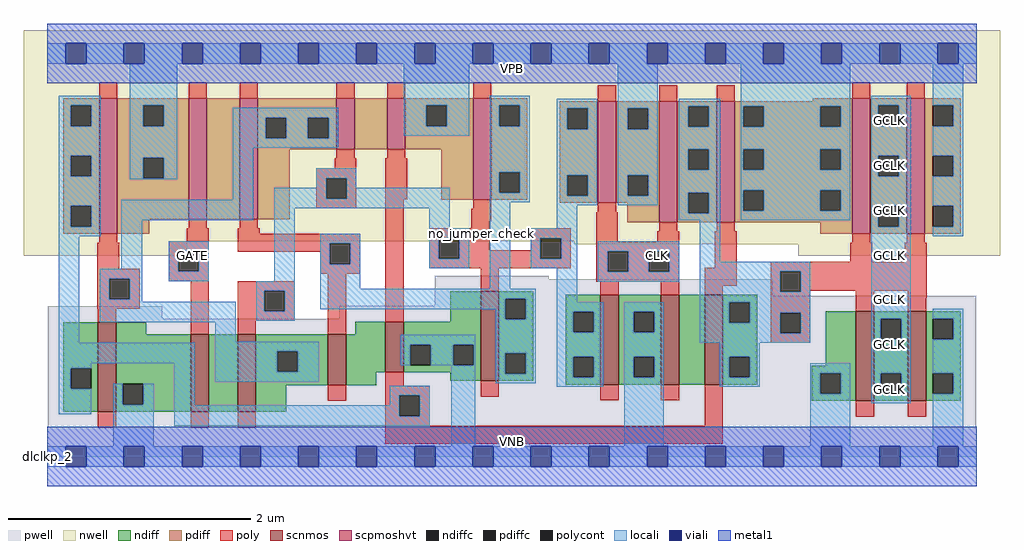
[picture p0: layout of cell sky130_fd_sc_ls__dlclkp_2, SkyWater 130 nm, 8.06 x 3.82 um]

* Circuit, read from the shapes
.subckt sky130_fd_sc_ls__dlclkp_2 CLK GATE VGND VNB VPB VPWR GCLK
XM1 VGND n1 n2 VNB sky130_fd_pr__nfet_01v8 w=0.74 l=0.15
XM2 n3 GATE VGND VNB sky130_fd_pr__nfet_01v8 w=0.64 l=0.15
XM3 n1 n4 n3 VNB sky130_fd_pr__nfet_01v8 w=0.64 l=0.15
XM4 n5 n6 n1 VNB sky130_fd_pr__nfet_01v8 w=0.42 l=0.15
XM5 VGND n2 n5 VNB sky130_fd_pr__nfet_01v8 w=0.42 l=0.15
XM6 n6 n4 VGND VNB sky130_fd_pr__nfet_01v8 w=0.74 l=0.15
XM7 VGND CLK n4 VNB sky130_fd_pr__nfet_01v8 w=0.74 l=0.15
XM8 n7 CLK VGND VNB sky130_fd_pr__nfet_01v8 w=0.74 l=0.15
XM9 n8 n2 n7 VNB sky130_fd_pr__nfet_01v8 w=0.74 l=0.15
XM10 GCLK n8 VGND VNB sky130_fd_pr__nfet_01v8 w=0.74 l=0.15 m=2
XM11 VPWR n1 n2 VPB sky130_fd_pr__pfet_01v8_hvt w=1.12 l=0.15
XM12 n9 GATE VPWR VPB sky130_fd_pr__pfet_01v8_hvt w=1 l=0.15
XM13 n1 n6 n9 VPB sky130_fd_pr__pfet_01v8_hvt w=1 l=0.15
XM14 n10 n4 n1 VPB sky130_fd_pr__pfet_01v8_hvt w=0.42 l=0.15
XM15 VPWR n2 n10 VPB sky130_fd_pr__pfet_01v8_hvt w=0.42 l=0.15
XM16 n6 n4 VPWR VPB sky130_fd_pr__pfet_01v8_hvt w=0.84 l=0.15
XM17 VPWR CLK n4 VPB sky130_fd_pr__pfet_01v8_hvt w=0.84 l=0.15
XM18 n8 CLK VPWR VPB sky130_fd_pr__pfet_01v8_hvt w=1 l=0.15
XM19 VPWR n2 n8 VPB sky130_fd_pr__pfet_01v8_hvt w=1 l=0.15
XM20 GCLK n8 VPWR VPB sky130_fd_pr__pfet_01v8_hvt w=1.12 l=0.15 m=2
.ends

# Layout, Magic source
magic
tech sky130A
magscale 1 2
<< nwell >>
rect -38 356 1574 704
rect -38 332 232 356
rect 871 351 1574 356
rect 1241 332 1574 351
<< pwell >>
rect 640 293 829 299
rect 640 266 1199 293
rect 640 249 1535 266
rect 1 228 190 248
rect 483 228 1535 249
rect 1 49 1535 228
rect 0 0 1536 49
<< scnmos >>
rect 84 74 114 222
rect 237 74 267 202
rect 315 74 345 202
rect 464 118 494 202
rect 559 139 589 223
rect 716 125 746 273
rect 914 119 944 267
rect 1014 119 1044 267
rect 1086 119 1116 267
rect 1336 92 1366 240
rect 1422 92 1452 240
<< scpmoshvt >>
rect 86 368 116 592
rect 234 392 264 592
rect 318 392 348 592
rect 478 508 508 592
rect 562 508 592 592
rect 704 424 734 592
rect 910 419 940 587
rect 1011 387 1041 587
rect 1106 387 1136 587
rect 1330 368 1360 592
rect 1420 368 1450 592
<< ndiff >>
rect 27 146 84 222
rect 27 112 39 146
rect 73 112 84 146
rect 27 74 84 112
rect 114 202 164 222
rect 666 223 716 273
rect 509 202 559 223
rect 114 120 237 202
rect 114 86 125 120
rect 159 86 237 120
rect 114 74 237 86
rect 267 74 315 202
rect 345 174 464 202
rect 345 140 380 174
rect 414 140 464 174
rect 345 118 464 140
rect 494 139 559 202
rect 589 185 716 223
rect 589 151 600 185
rect 634 151 671 185
rect 705 151 716 185
rect 589 139 716 151
rect 494 118 544 139
rect 345 74 395 118
rect 666 125 716 139
rect 746 261 803 273
rect 746 227 757 261
rect 791 227 803 261
rect 746 171 803 227
rect 746 137 757 171
rect 791 137 803 171
rect 746 125 803 137
rect 857 239 914 267
rect 857 205 869 239
rect 903 205 914 239
rect 857 165 914 205
rect 857 131 869 165
rect 903 131 914 165
rect 857 119 914 131
rect 944 239 1014 267
rect 944 205 969 239
rect 1003 205 1014 239
rect 944 165 1014 205
rect 944 131 969 165
rect 1003 131 1014 165
rect 944 119 1014 131
rect 1044 119 1086 267
rect 1116 255 1173 267
rect 1116 221 1127 255
rect 1161 221 1173 255
rect 1116 165 1173 221
rect 1116 131 1127 165
rect 1161 131 1173 165
rect 1286 150 1336 240
rect 1116 119 1173 131
rect 1263 138 1336 150
rect 1263 104 1277 138
rect 1311 104 1336 138
rect 1263 92 1336 104
rect 1366 228 1422 240
rect 1366 194 1377 228
rect 1411 194 1422 228
rect 1366 138 1422 194
rect 1366 104 1377 138
rect 1411 104 1422 138
rect 1366 92 1422 104
rect 1452 228 1509 240
rect 1452 194 1463 228
rect 1497 194 1509 228
rect 1452 138 1509 194
rect 1452 104 1463 138
rect 1497 104 1509 138
rect 1452 92 1509 104
<< pdiff >>
rect 27 580 86 592
rect 27 546 39 580
rect 73 546 86 580
rect 27 497 86 546
rect 27 463 39 497
rect 73 463 86 497
rect 27 414 86 463
rect 27 380 39 414
rect 73 380 86 414
rect 27 368 86 380
rect 116 580 234 592
rect 116 546 159 580
rect 193 546 234 580
rect 116 494 234 546
rect 116 460 159 494
rect 193 460 234 494
rect 116 392 234 460
rect 264 392 318 592
rect 348 560 478 592
rect 348 526 361 560
rect 395 526 431 560
rect 465 526 478 560
rect 348 508 478 526
rect 508 508 562 592
rect 592 580 704 592
rect 592 546 626 580
rect 660 546 704 580
rect 592 508 704 546
rect 348 392 401 508
rect 116 368 169 392
rect 651 424 704 508
rect 734 580 793 592
rect 1265 587 1330 592
rect 734 546 747 580
rect 781 546 793 580
rect 734 470 793 546
rect 734 436 747 470
rect 781 436 793 470
rect 734 424 793 436
rect 847 575 910 587
rect 847 541 859 575
rect 893 541 910 575
rect 847 465 910 541
rect 847 431 859 465
rect 893 431 910 465
rect 847 419 910 431
rect 940 575 1011 587
rect 940 541 959 575
rect 993 541 1011 575
rect 940 465 1011 541
rect 940 431 959 465
rect 993 431 1011 465
rect 940 419 1011 431
rect 958 387 1011 419
rect 1041 579 1106 587
rect 1041 545 1059 579
rect 1093 545 1106 579
rect 1041 508 1106 545
rect 1041 474 1059 508
rect 1093 474 1106 508
rect 1041 436 1106 474
rect 1041 402 1059 436
rect 1093 402 1106 436
rect 1041 387 1106 402
rect 1136 579 1330 587
rect 1136 545 1150 579
rect 1184 545 1277 579
rect 1311 545 1330 579
rect 1136 508 1330 545
rect 1136 474 1150 508
rect 1184 474 1277 508
rect 1311 474 1330 508
rect 1136 440 1330 474
rect 1136 406 1150 440
rect 1184 406 1277 440
rect 1311 406 1330 440
rect 1136 387 1330 406
rect 1277 368 1330 387
rect 1360 580 1420 592
rect 1360 546 1373 580
rect 1407 546 1420 580
rect 1360 497 1420 546
rect 1360 463 1373 497
rect 1407 463 1420 497
rect 1360 414 1420 463
rect 1360 380 1373 414
rect 1407 380 1420 414
rect 1360 368 1420 380
rect 1450 580 1509 592
rect 1450 546 1463 580
rect 1497 546 1509 580
rect 1450 497 1509 546
rect 1450 463 1463 497
rect 1497 463 1509 497
rect 1450 414 1509 463
rect 1450 380 1463 414
rect 1497 380 1509 414
rect 1450 368 1509 380
<< ndiffc >>
rect 39 112 73 146
rect 125 86 159 120
rect 380 140 414 174
rect 600 151 634 185
rect 671 151 705 185
rect 757 227 791 261
rect 757 137 791 171
rect 869 205 903 239
rect 869 131 903 165
rect 969 205 1003 239
rect 969 131 1003 165
rect 1127 221 1161 255
rect 1127 131 1161 165
rect 1277 104 1311 138
rect 1377 194 1411 228
rect 1377 104 1411 138
rect 1463 194 1497 228
rect 1463 104 1497 138
<< pdiffc >>
rect 39 546 73 580
rect 39 463 73 497
rect 39 380 73 414
rect 159 546 193 580
rect 159 460 193 494
rect 361 526 395 560
rect 431 526 465 560
rect 626 546 660 580
rect 747 546 781 580
rect 747 436 781 470
rect 859 541 893 575
rect 859 431 893 465
rect 959 541 993 575
rect 959 431 993 465
rect 1059 545 1093 579
rect 1059 474 1093 508
rect 1059 402 1093 436
rect 1150 545 1184 579
rect 1277 545 1311 579
rect 1150 474 1184 508
rect 1277 474 1311 508
rect 1150 406 1184 440
rect 1277 406 1311 440
rect 1373 546 1407 580
rect 1373 463 1407 497
rect 1373 380 1407 414
rect 1463 546 1497 580
rect 1463 463 1497 497
rect 1463 380 1497 414
<< poly >>
rect 86 592 116 618
rect 234 592 264 618
rect 318 592 348 618
rect 478 592 508 618
rect 562 592 592 618
rect 704 592 734 618
rect 478 493 508 508
rect 562 493 592 508
rect 475 476 511 493
rect 445 460 511 476
rect 445 426 461 460
rect 495 426 511 460
rect 445 410 511 426
rect 559 425 595 493
rect 234 377 264 392
rect 318 377 348 392
rect 86 353 116 368
rect 231 356 267 377
rect 83 310 119 353
rect 201 340 267 356
rect 83 294 153 310
rect 83 260 103 294
rect 137 260 153 294
rect 201 306 217 340
rect 251 306 267 340
rect 315 368 351 377
rect 315 352 517 368
rect 315 338 467 352
rect 201 290 267 306
rect 451 318 467 338
rect 501 318 517 352
rect 451 302 517 318
rect 83 244 153 260
rect 84 222 114 244
rect 237 202 267 290
rect 315 274 409 290
rect 315 240 359 274
rect 393 240 409 274
rect 315 224 409 240
rect 315 202 345 224
rect 464 202 494 302
rect 559 223 589 425
rect 910 587 940 613
rect 1011 587 1041 613
rect 1106 587 1136 613
rect 1330 592 1360 618
rect 1420 592 1450 618
rect 704 409 734 424
rect 701 389 734 409
rect 910 404 940 419
rect 701 377 731 389
rect 631 361 731 377
rect 631 327 647 361
rect 681 341 731 361
rect 799 361 865 377
rect 799 341 815 361
rect 681 327 815 341
rect 849 327 865 361
rect 631 311 865 327
rect 907 355 943 404
rect 1011 372 1041 387
rect 1106 372 1136 387
rect 1008 355 1044 372
rect 907 339 1044 355
rect 716 273 746 311
rect 907 305 926 339
rect 960 305 994 339
rect 1028 305 1044 339
rect 1103 312 1139 372
rect 1330 353 1360 368
rect 1420 353 1450 368
rect 1327 322 1363 353
rect 1417 322 1453 353
rect 907 289 1044 305
rect 464 92 494 118
rect 559 117 589 139
rect 914 267 944 289
rect 1014 267 1044 289
rect 1086 282 1139 312
rect 1195 306 1453 322
rect 1086 267 1116 282
rect 1195 272 1211 306
rect 1245 274 1453 306
rect 1245 272 1261 274
rect 559 101 632 117
rect 84 48 114 74
rect 237 48 267 74
rect 315 48 345 74
rect 559 67 582 101
rect 616 67 632 101
rect 716 99 746 125
rect 1195 238 1261 272
rect 1336 240 1366 274
rect 1422 262 1453 274
rect 1422 240 1452 262
rect 1195 204 1211 238
rect 1245 204 1261 238
rect 1195 188 1261 204
rect 914 93 944 119
rect 1014 93 1044 119
rect 559 51 632 67
rect 1086 51 1116 119
rect 1336 66 1366 92
rect 1422 66 1452 92
rect 559 21 1116 51
<< polycont >>
rect 461 426 495 460
rect 103 260 137 294
rect 217 306 251 340
rect 467 318 501 352
rect 359 240 393 274
rect 647 327 681 361
rect 815 327 849 361
rect 926 305 960 339
rect 994 305 1028 339
rect 1211 272 1245 306
rect 582 67 616 101
rect 1211 204 1245 238
<< locali >>
rect 0 649 31 683
rect 65 649 127 683
rect 161 649 223 683
rect 257 649 319 683
rect 353 649 415 683
rect 449 649 511 683
rect 545 649 607 683
rect 641 649 703 683
rect 737 649 799 683
rect 833 649 895 683
rect 929 649 991 683
rect 1025 649 1087 683
rect 1121 649 1183 683
rect 1217 649 1279 683
rect 1313 649 1375 683
rect 1409 649 1471 683
rect 1505 649 1536 683
rect 19 580 89 596
rect 19 546 39 580
rect 73 546 89 580
rect 19 497 89 546
rect 19 463 39 497
rect 73 463 89 497
rect 19 414 89 463
rect 137 580 215 649
rect 137 546 159 580
rect 193 546 215 580
rect 589 580 697 649
rect 137 494 215 546
rect 137 460 159 494
rect 193 460 215 494
rect 137 458 215 460
rect 307 560 481 576
rect 307 526 361 560
rect 395 526 431 560
rect 465 526 481 560
rect 589 546 626 580
rect 660 546 697 580
rect 589 530 697 546
rect 731 580 797 596
rect 731 546 747 580
rect 781 546 797 580
rect 307 510 481 526
rect 307 424 341 510
rect 445 460 511 476
rect 445 444 461 460
rect 19 380 39 414
rect 73 380 89 414
rect 19 364 89 380
rect 123 390 341 424
rect 375 426 461 444
rect 495 444 511 460
rect 731 470 797 546
rect 495 426 665 444
rect 375 410 665 426
rect 19 188 53 364
rect 123 310 157 390
rect 87 294 157 310
rect 87 260 103 294
rect 137 260 157 294
rect 201 340 267 356
rect 201 306 217 340
rect 251 306 267 340
rect 201 290 267 306
rect 375 290 409 410
rect 631 377 665 410
rect 731 436 747 470
rect 781 436 797 470
rect 731 420 797 436
rect 842 575 909 591
rect 842 541 859 575
rect 893 541 909 575
rect 842 465 909 541
rect 842 431 859 465
rect 893 431 909 465
rect 87 256 157 260
rect 346 274 409 290
rect 87 222 312 256
rect 346 240 359 274
rect 393 240 409 274
rect 451 352 517 368
rect 451 318 467 352
rect 501 318 517 352
rect 451 277 517 318
rect 631 361 697 377
rect 631 327 647 361
rect 681 327 697 361
rect 631 311 697 327
rect 731 277 765 420
rect 842 415 909 431
rect 943 575 1009 649
rect 943 541 959 575
rect 993 541 1009 575
rect 943 465 1009 541
rect 943 431 959 465
rect 993 431 1009 465
rect 943 415 1009 431
rect 1043 579 1112 591
rect 1043 545 1059 579
rect 1093 545 1112 579
rect 1043 508 1112 545
rect 1043 474 1059 508
rect 1093 474 1112 508
rect 1043 436 1112 474
rect 842 377 876 415
rect 1043 402 1059 436
rect 1093 402 1112 436
rect 1043 390 1112 402
rect 1146 579 1327 649
rect 1146 545 1150 579
rect 1184 545 1277 579
rect 1311 545 1327 579
rect 1146 508 1327 545
rect 1146 474 1150 508
rect 1184 474 1277 508
rect 1311 474 1327 508
rect 1146 440 1327 474
rect 1146 406 1150 440
rect 1184 406 1277 440
rect 1311 406 1327 440
rect 1146 390 1327 406
rect 1361 580 1427 596
rect 1361 546 1373 580
rect 1407 546 1427 580
rect 1361 497 1427 546
rect 1361 463 1373 497
rect 1407 463 1427 497
rect 1361 414 1427 463
rect 799 361 876 377
rect 799 327 815 361
rect 849 327 876 361
rect 799 311 876 327
rect 451 261 807 277
rect 451 243 757 261
rect 346 224 409 240
rect 741 227 757 243
rect 791 227 807 261
rect 278 190 312 222
rect 19 154 244 188
rect 19 146 73 154
rect 19 112 39 146
rect 19 70 73 112
rect 109 86 125 120
rect 159 86 176 120
rect 109 17 176 86
rect 210 85 244 154
rect 278 174 449 190
rect 278 140 380 174
rect 414 140 449 174
rect 584 185 707 201
rect 584 151 600 185
rect 634 151 671 185
rect 705 151 707 185
rect 278 124 449 140
rect 566 101 632 117
rect 566 85 582 101
rect 210 67 582 85
rect 616 67 632 101
rect 210 51 632 67
rect 668 17 707 151
rect 741 171 807 227
rect 741 137 757 171
rect 791 137 807 171
rect 741 121 807 137
rect 842 255 876 311
rect 910 339 1044 356
rect 910 305 926 339
rect 960 305 994 339
rect 1028 305 1044 339
rect 910 289 1044 305
rect 1078 322 1112 390
rect 1361 380 1373 414
rect 1407 380 1427 414
rect 1078 306 1261 322
rect 1078 272 1211 306
rect 1245 272 1261 306
rect 1078 255 1261 272
rect 842 239 919 255
rect 842 205 869 239
rect 903 205 919 239
rect 842 165 919 205
rect 842 131 869 165
rect 903 131 919 165
rect 842 115 919 131
rect 953 239 1019 255
rect 953 205 969 239
rect 1003 205 1019 239
rect 953 165 1019 205
rect 1078 221 1127 255
rect 1161 238 1261 255
rect 1161 221 1211 238
rect 1078 204 1211 221
rect 1245 204 1261 238
rect 1078 188 1261 204
rect 1361 228 1427 380
rect 1463 580 1513 649
rect 1497 546 1513 580
rect 1463 497 1513 546
rect 1497 463 1513 497
rect 1463 414 1513 463
rect 1497 380 1513 414
rect 1463 364 1513 380
rect 1361 194 1377 228
rect 1411 194 1427 228
rect 953 131 969 165
rect 1003 131 1019 165
rect 953 17 1019 131
rect 1111 165 1177 188
rect 1111 131 1127 165
rect 1161 131 1177 165
rect 1111 115 1177 131
rect 1261 138 1327 154
rect 1261 104 1277 138
rect 1311 104 1327 138
rect 1261 17 1327 104
rect 1361 138 1427 194
rect 1361 104 1377 138
rect 1411 104 1427 138
rect 1361 88 1427 104
rect 1463 228 1513 244
rect 1497 194 1513 228
rect 1463 138 1513 194
rect 1497 104 1513 138
rect 1463 17 1513 104
rect 0 -17 31 17
rect 65 -17 127 17
rect 161 -17 223 17
rect 257 -17 319 17
rect 353 -17 415 17
rect 449 -17 511 17
rect 545 -17 607 17
rect 641 -17 703 17
rect 737 -17 799 17
rect 833 -17 895 17
rect 929 -17 991 17
rect 1025 -17 1087 17
rect 1121 -17 1183 17
rect 1217 -17 1279 17
rect 1313 -17 1375 17
rect 1409 -17 1471 17
rect 1505 -17 1536 17
<< viali >>
rect 31 649 65 683
rect 127 649 161 683
rect 223 649 257 683
rect 319 649 353 683
rect 415 649 449 683
rect 511 649 545 683
rect 607 649 641 683
rect 703 649 737 683
rect 799 649 833 683
rect 895 649 929 683
rect 991 649 1025 683
rect 1087 649 1121 683
rect 1183 649 1217 683
rect 1279 649 1313 683
rect 1375 649 1409 683
rect 1471 649 1505 683
rect 31 -17 65 17
rect 127 -17 161 17
rect 223 -17 257 17
rect 319 -17 353 17
rect 415 -17 449 17
rect 511 -17 545 17
rect 607 -17 641 17
rect 703 -17 737 17
rect 799 -17 833 17
rect 895 -17 929 17
rect 991 -17 1025 17
rect 1087 -17 1121 17
rect 1183 -17 1217 17
rect 1279 -17 1313 17
rect 1375 -17 1409 17
rect 1471 -17 1505 17
<< metal1 >>
rect 0 683 1536 715
rect 0 649 31 683
rect 65 649 127 683
rect 161 649 223 683
rect 257 649 319 683
rect 353 649 415 683
rect 449 649 511 683
rect 545 649 607 683
rect 641 649 703 683
rect 737 649 799 683
rect 833 649 895 683
rect 929 649 991 683
rect 1025 649 1087 683
rect 1121 649 1183 683
rect 1217 649 1279 683
rect 1313 649 1375 683
rect 1409 649 1471 683
rect 1505 649 1536 683
rect 0 617 1536 649
rect 0 17 1536 49
rect 0 -17 31 17
rect 65 -17 127 17
rect 161 -17 223 17
rect 257 -17 319 17
rect 353 -17 415 17
rect 449 -17 511 17
rect 545 -17 607 17
rect 641 -17 703 17
rect 737 -17 799 17
rect 833 -17 895 17
rect 929 -17 991 17
rect 1025 -17 1087 17
rect 1121 -17 1183 17
rect 1217 -17 1279 17
rect 1313 -17 1375 17
rect 1409 -17 1471 17
rect 1505 -17 1536 17
rect 0 -49 1536 -17
<< labels >>
flabel comment s 717 368 717 368 0 FreeSans 200 0 0 0 no_jumper_check
rlabel comment s 0 0 0 0 4 dlclkp_2
flabel pwell s 0 0 1536 49 0 FreeSans 200 0 0 0 VNB
port 4 nsew ground bidirectional
flabel nwell s 0 617 1536 666 0 FreeSans 200 0 0 0 VPB
port 5 nsew power bidirectional
flabel metal1 s 0 617 1536 666 0 FreeSans 340 0 0 0 VPWR
port 6 nsew power bidirectional abutment
flabel metal1 s 0 0 1536 49 0 FreeSans 340 0 0 0 VGND
port 3 nsew ground bidirectional abutment
flabel locali s 223 316 257 350 0 FreeSans 340 0 0 0 GATE
port 2 nsew signal input
flabel locali s 991 316 1025 350 0 FreeSans 340 0 0 0 CLK
port 1 nsew clock input
flabel locali s 1375 94 1409 128 0 FreeSans 340 0 0 0 GCLK
port 7 nsew signal output
flabel locali s 1375 168 1409 202 0 FreeSans 340 0 0 0 GCLK
port 7 nsew signal output
flabel locali s 1375 242 1409 276 0 FreeSans 340 0 0 0 GCLK
port 7 nsew signal output
flabel locali s 1375 316 1409 350 0 FreeSans 340 0 0 0 GCLK
port 7 nsew signal output
flabel locali s 1375 390 1409 424 0 FreeSans 340 0 0 0 GCLK
port 7 nsew signal output
flabel locali s 1375 464 1409 498 0 FreeSans 340 0 0 0 GCLK
port 7 nsew signal output
flabel locali s 1375 538 1409 572 0 FreeSans 340 0 0 0 GCLK
port 7 nsew signal output
<< properties >>
string LEFsite unit
string LEFclass CORE
string FIXED_BBOX 0 0 1536 666
string GDS_FILE $PDKPATH/libs.ref/sky130_fd_sc_ls/gds/sky130_fd_sc_ls.gds
string LEFsymmetry X Y
string GDS_END 2158070
string GDS_START 2145676
<< end >>
